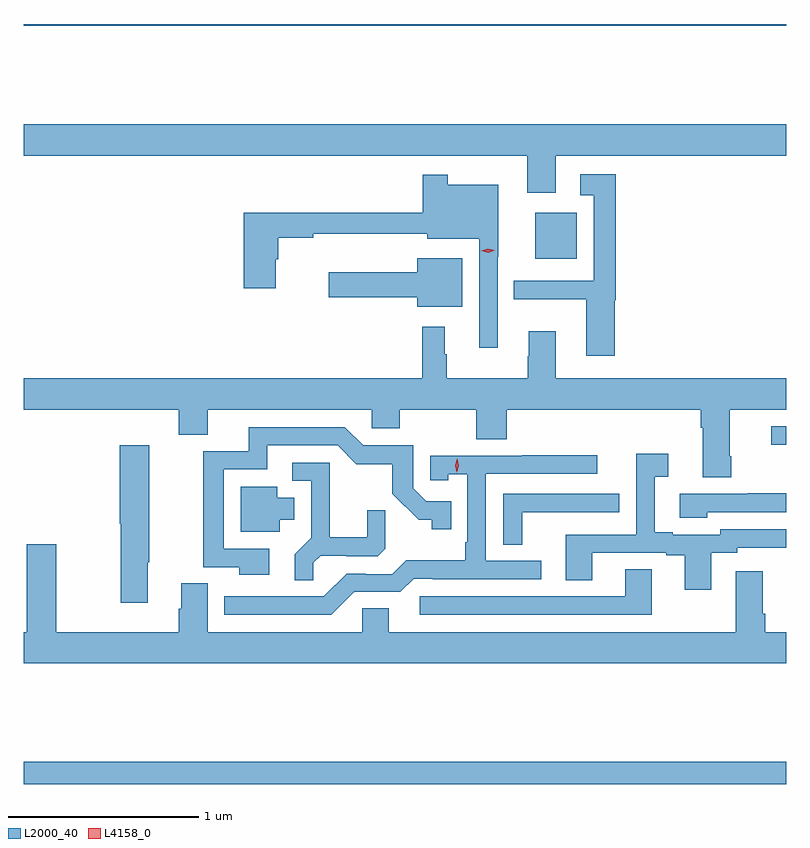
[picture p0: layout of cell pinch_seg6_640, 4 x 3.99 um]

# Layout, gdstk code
import gdstk
lib = gdstk.Library(unit=1e-6, precision=1e-09)
def R(c, l, rs):  # rectangles x0, y0, x1, y1
    for r in rs: c.add(gdstk.rectangle(r[:2], r[2:], *l))
def P(c, l, *ps):  # polygons
    for p in ps: c.add(gdstk.Polygon(p, *l))
L2000_40 = (2000, 40)
L4158_0 = (4158, 0)

pinch_seg6_640 = lib.new_cell('pinch_seg6_640')
R(pinch_seg6_640, L2000_40, [(453.667,937.38,457.667,937.496), (457.587,939.159,457.667,939.255), (456.35,940.136,456.568,940.375), (453.667,941.356,457.667,941.366)])
P(pinch_seg6_640, L2000_40, [(456.457,940.676),(457.667,940.676),(457.667,940.84),(453.667,940.84),(453.667,940.676),(456.308,940.676),(456.308,940.482),(456.457,940.482)],
  [(456.767,939.917),(456.773,939.917),(456.773,940.579),(456.585,940.579),(456.585,940.469),(456.657,940.469),(456.657,940.02),(456.238,940.02),(456.238,939.923),(456.617,939.923),(456.617,939.627),(456.767,939.627)],
  [(456.153,940.145),(456.155,940.145),(456.155,940.522),(455.89,940.522),(455.89,940.576),(455.761,940.576),(455.761,940.375),(454.82,940.375),(454.82,939.981),(454.99,939.981),(454.99,940.131),(455.003,940.131),(455.003,940.246),(455.186,940.246),(455.186,940.265),(455.784,940.265),(455.784,940.241),(456.057,940.241),(456.057,939.669),(456.153,939.669)],
  [(455.968,940.138),(455.732,940.138),(455.732,940.063),(455.268,940.063),(455.268,939.934),(455.732,939.934),(455.732,939.884),(455.968,939.884)],
  [(457.377,939.1),(457.369,939.1),(457.369,939.344),(457.667,939.344),(457.667,939.508),(456.457,939.508),(456.457,939.754),(456.317,939.754),(456.317,939.623),(456.31,939.623),(456.31,939.508),(455.887,939.508),(455.887,939.635),(455.876,939.635),(455.876,939.778),(455.758,939.778),(455.758,939.508),(453.667,939.508),(453.667,939.344),(454.481,939.344),(454.481,939.211),(454.633,939.211),(454.633,939.344),(455.493,939.344),(455.493,939.246),(455.64,939.246),(455.64,939.344),(456.04,939.344),(456.04,939.187),(456.2,939.187),(456.2,939.344),(457.217,939.344),(457.217,939.248),(457.229,939.248),(457.229,938.988),(457.377,938.988)],
  [(454.954,938.613),(454.716,938.613),(454.716,939.03),(454.945,939.03),(454.945,939.156),(455.313,939.156),(455.412,939.058),(455.601,939.058),(455.601,938.902),(455.738,938.765),(455.808,938.765),(455.808,938.715),(455.909,938.715),(455.909,938.862),(455.778,938.862),(455.709,938.931),(455.709,939.156),(455.448,939.156),(455.352,939.252),(454.847,939.252),(454.847,939.126),(454.608,939.126),(454.608,938.517),(454.798,938.517),(454.798,938.477),(454.954,938.477)],
  [(454.318,938.543),(454.326,938.543),(454.326,939.157),(454.172,939.157),(454.172,938.744),(454.177,938.744),(454.177,938.331),(454.318,938.331)],
  [(457.273,938.592),(457.41,938.592),(457.41,938.619),(457.666,938.619),(457.666,938.715),(457.32,938.715),(457.32,938.688),(457.072,938.688),(457.072,938.701),(456.976,938.701),(456.976,938.992),(457.048,938.992),(457.048,939.112),(456.879,939.112),(456.879,938.688),(456.509,938.688),(456.509,938.449),(456.649,938.449),(456.649,938.592),(457.037,938.592),(457.037,938.58),(457.133,938.58),(457.133,938.4),(457.273,938.4)],
  [(455.4,938.388),(455.643,938.388),(455.712,938.457),(455.812,938.457),(455.812,938.454),(456.382,938.454),(456.382,938.55),(456.09,938.55),(456.09,939.006),(456.676,939.006),(456.676,939.105),(456.283,939.105),(456.283,939.102),(455.799,939.102),(455.799,938.973),(455.895,938.973),(455.895,939.005),(455.994,939.005),(455.994,938.647),(455.982,938.647),(455.982,938.554),(455.674,938.554),(455.601,938.481),(455.462,938.481),(455.462,938.484),(455.361,938.484),(455.241,938.364),(454.718,938.364),(454.718,938.268),(455.28,938.268)],
  [(455.187,938.54),(455.224,938.577),(455.358,938.577),(455.358,938.574),(455.523,938.574),(455.564,938.615),(455.564,938.817),(455.47,938.817),(455.47,938.674),(455.273,938.674),(455.273,939.066),(455.076,939.066),(455.076,938.97),(455.175,938.97),(455.175,938.671),(455.089,938.585),(455.089,938.449),(455.187,938.449)],
  [(455.011,938.765),(455.086,938.765),(455.086,938.881),(454.996,938.881),(454.996,938.938),(454.805,938.938),(454.805,938.702),(455.011,938.702)],
  [(457.251,938.805),(457.667,938.805),(457.667,938.904),(457.465,938.904),(457.465,938.901),(457.107,938.901),(457.107,938.777),(457.251,938.777)],
  [(456.282,938.805),(456.677,938.805),(456.677,938.806),(456.79,938.806),(456.79,938.901),(456.183,938.901),(456.183,938.635),(456.282,938.635)],
  [(457.667,938.176),(457.556,938.176),(457.556,938.272),(457.543,938.272),(457.543,938.497),(457.403,938.497),(457.403,938.176),(455.581,938.176),(455.581,938.303),(455.442,938.303),(455.442,938.176),(454.633,938.176),(454.633,938.432),(454.493,938.432),(454.493,938.298),(454.481,938.298),(454.481,938.176),(453.837,938.176),(453.837,938.638),(453.682,938.638),(453.682,938.176),(453.667,938.176),(453.667,938.012),(457.667,938.012)],
  [(456.961,938.507),(456.821,938.507),(456.821,938.364),(455.745,938.364),(455.745,938.268),(456.961,938.268)])
P(pinch_seg6_640, L4158_0, [(456.103,940.167),(456.067,940.176),(456.067,940.176),(456.067,940.176),(456.102,940.187),(456.138,940.179),(456.138,940.179),(456.138,940.179)],
  [(455.939,939.015),(455.939,939.015),(455.93,939.051),(455.941,939.086),(455.942,939.087),(455.942,939.086),(455.95,939.05),(455.939,939.015)])

lib.write_gds('pinch_seg6_640.gds')
